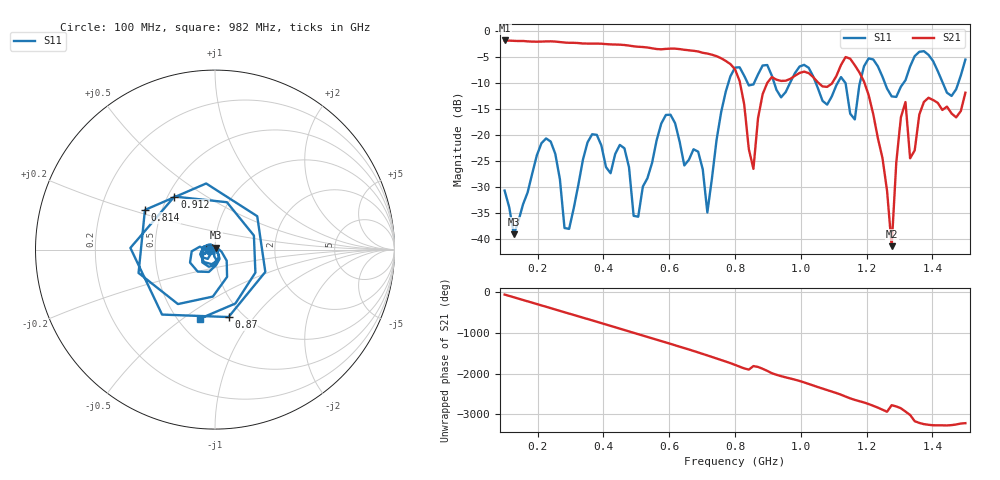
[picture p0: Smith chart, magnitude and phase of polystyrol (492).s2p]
! NanoVNA-App
! Date: 2025-09-25 15:33:43
! Start: 100MHz Stop: 1,5GHz Points: 101
! S-Parameter data: F S11 S21 S12 S22
# Hz S RI R 50
!  Frequency  S11_Real  S11_Imag  S21_Real  S21_Imag  S12_Real  S12_Imag  S22_Real  S22_Imag
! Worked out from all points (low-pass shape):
!   101 points, 100 MHz to 1.5 GHz, reference 50 ohm
!   highest |S21| = -1.80 dB at 100 MHz (marker M1); lowest = -41.4 dB at 1.276 GHz (marker M2)
!   |S21| within 3 dB of the highest: start of sweep to 742.9 MHz
!   lowest |S11| = -39.1 dB at 128 MHz (marker M3), VSWR 1.02, Z = 50.3 + j1.06 ohm
!   |S11| at or under -10 dB: start of sweep to 779.8 MHz; 1.046 GHz to 1.112 GHz (66.04 MHz wide, 6.12 % of centre); 1.136 GHz to 1.179 GHz (43.53 MHz wide, 3.76 % of centre)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
!   S12 and S22 are empty: the file has one direction only
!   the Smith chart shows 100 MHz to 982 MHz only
!   S11 on the Smith chart (normalised r, x): 100 MHz: 0.94, -0.01; 814 MHz: 0.40, +0.22; 870 MHz: 0.86, -0.75; 912 MHz: 0.54, +0.37; 982 MHz: 0.64, -0.58
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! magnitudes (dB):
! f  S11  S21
! 100 MHz  -30.7  -1.8
! 128 MHz  -39.1  -1.9
! 212 MHz  -21.6  -2.0
! 282 MHz  -37.9  -2.2
! 338 MHz  -24.7  -2.4
! 464 MHz  -22.6  -2.7
! 506 MHz  -35.7  -3.0
! 576 MHz  -17.8  -3.5
! 716 MHz  -34.9  -4.3
! 800 MHz  -7.0  -7.4
! 814 MHz  -7.0  -9.6
! 856 MHz  -10.3  -26.5
! 870 MHz  -8.3  -16.8
! 912 MHz  -8.6  -8.8
! 982 MHz  -8.1  -8.6
! 1.038 GHz  -8.8  -8.9
! 1.164 GHz  -17.0  -6.6
! 1.192 GHz  -6.8  -9.7
! 1.276 GHz  -12.6  -41.4
! 1.318 GHz  -9.5  -13.7
! 1.332 GHz  -6.8  -24.5
! 1.5 GHz  -5.5  -11.9
